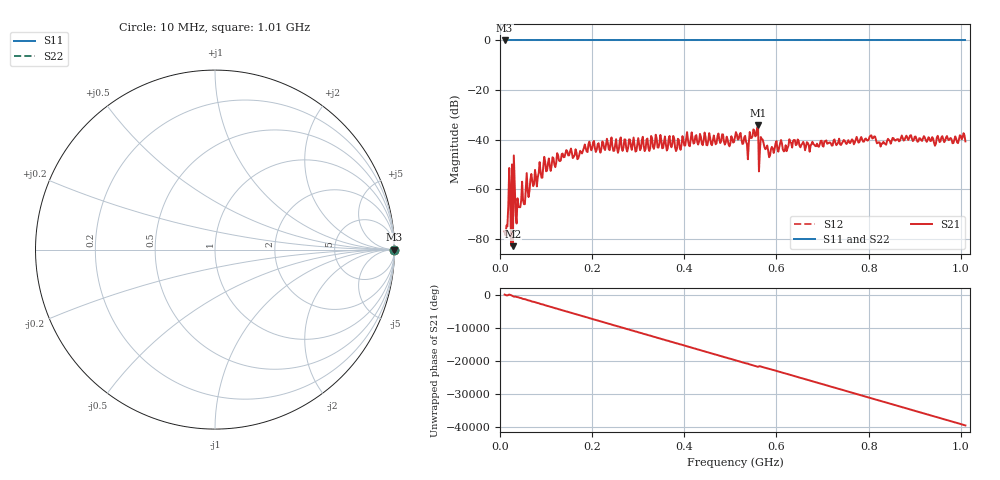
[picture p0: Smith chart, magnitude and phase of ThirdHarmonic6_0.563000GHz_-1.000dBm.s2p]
! 8/15/2025 5:59:49 PM
! C:\ANRITSUVNA\TEMP\TEMP.S2P
! CHANNEL.1
! TR.MEASUREMENT
! RAW.DATA
! RF.CORRECTION.OFF
! AVERAGING.OFF
! IF.BANDWIDTH: 5KHZ
! SWEEPTYPE:  FREQ.SWEEP(Linear)
! Reference Plane Port Info
! PORT:  PORT1  PORT2
! DISTANCE:  0  m  0  m
! TIME:  0  s  0  s
! PHASE.OFFSET:  0  deg.  0  deg.
! LOSS:  0  dB  0  dB
! REF.LOSS:  0  dB  0  dB
! REF.FREQ:  0  Hz  0  Hz
! Power Info
! POWER:  -20  dBm  -20  dBm
! EFF.POWER:  -20  dBm  -20  dBm
! SOURCE.ATTEN:  0  dB  0  dB
! TEST.ATTEN:  0  dB  0  dB
# GHZ S RI R 50.0
! FREQ.GHZ  S11RE  S11IM  S21RE  S21IM  S12RE  S12IM  S22RE  S22IM
!; PortSelection: Port_12
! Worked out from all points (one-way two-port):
!   501 points, 10 MHz to 1.01 GHz, reference 50 ohm
!   highest |S21| = -34.17 dB at 560 MHz (marker M1); lowest = -82.9 dB at 28 MHz (marker M2)
!   lowest |S11| = 0.0 dB at 10 MHz (marker M3)
!   |S11| at or under -10 dB: nowhere
!   |S22| runs from 0.0 to 0.0 dB; largest |S21 - S12| = 1
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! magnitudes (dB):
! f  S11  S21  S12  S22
! 10 MHz  0.0  -77.0  0.0  0.0
! 14 MHz  0.0  -74.6  0.0  0.0
! 18 MHz  0.0  -66.7  0.0  0.0
! 20 MHz  0.0  -51.4  0.0  0.0
! 22 MHz  0.0  -62.0  0.0  0.0
! 28 MHz  0.0  -82.9  0.0  0.0
! 30 MHz  0.0  -46.4  0.0  0.0
! 32 MHz  0.0  -57.7  0.0  0.0
! 34 MHz  0.0  -70.2  0.0  0.0
! 38 MHz  0.0  -63.6  0.0  0.0
! 62 MHz  0.0  -63.2  0.0  0.0
! 98 MHz  0.0  -48.9  0.0  0.0
! 178 MHz  0.0  -45.5  0.0  0.0
! 344 MHz  0.0  -43.2  0.0  0.0
! 510 MHz  0.0  -38.9  0.0  0.0
! 536 MHz  0.0  -41.8  0.0  0.0
! 556 MHz  0.0  -38.3  0.0  0.0
! 560 MHz  0.0  -34.2  0.0  0.0
! 586 MHz  0.0  -46.4  0.0  0.0
! 678 MHz  0.0  -40.9  0.0  0.0
! 844 MHz  0.0  -40.1  0.0  0.0
! 1.01 GHz  0.0  -40.7  0.0  0.0
